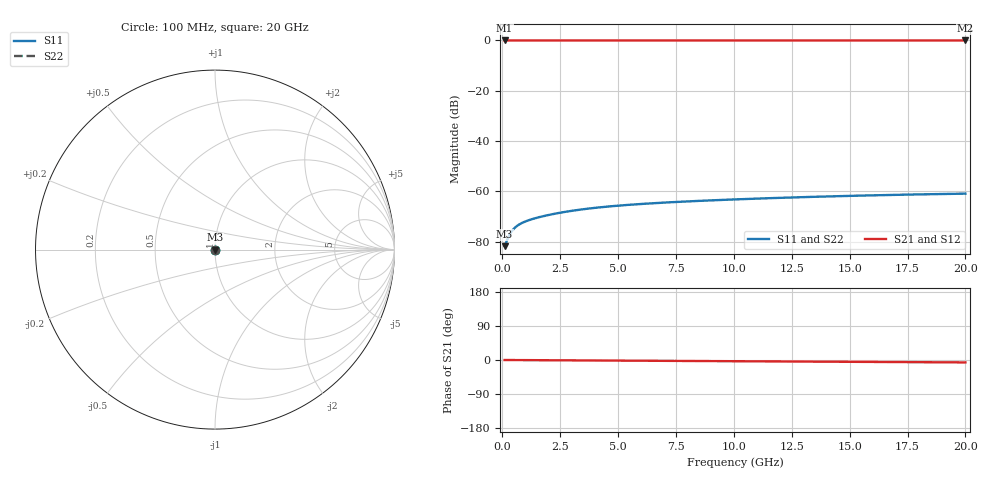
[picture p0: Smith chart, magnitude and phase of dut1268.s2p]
! Touchstone file exported from HFSS 2026.1.0
!  File:  C:/ffzhzh/LocalFiles/Ansys_Project_Files/temp_train_TSV_1268_1783194057_18472.aedt
!  Generated:  03:42:19 AM Jul  5, 2026
!  Design:  TSV
!  Project:  temp_train_TSV_1268_1783194057_18472
! Variables:
!  h_bsmrdl = 2um
!  h_ox = 20um
!  h_rdl = 5um
!  h_sub = 60.14um
!  h_tmrdl = 5um
!  h_tsv = 60.14um
!  h_via = 3um
!  l_bsmrdl = 300um
!  l_sub = 425.18um
!  l_tmrdl = 200um
!  m_sub = 200um
!  pitch = 49.99um
!  r_tsv = 12.59um
!  s_tmrdl = 10um
!  w_bsmrdl = 18um
!  w_sub = 500um
!  w_tmrdl = 12um
!  x_tsv_center1 = 206um
!  x_tsv_center2 = 524um
!  x_tsv_center3 = 736um
!  x_tsv_center4 = 1054um
!  x_tsv_center5 = 1266um
!  x_tsv_center6 = 1584um
# GHz S MA R 50.000000
! Terminal data exported
! Port[1] = TSV1_1_T1
! Port[2] = TSV1_1_T2
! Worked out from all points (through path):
!   200 points, 100 MHz to 20 GHz, reference 50 ohm
!   highest |S21| = 0.00 dB at 100 MHz (marker M1); lowest = 0.0 dB at 20 GHz (marker M2)
!   lowest |S11| = -81.8 dB at 100 MHz (marker M3), VSWR 1.00, Z = 50 + j0.00334 ohm
!   |S11| at or under -10 dB: start of sweep to end of sweep
!   |S22| runs from -81.8 to -60.9 dB; largest |S21 - S12| = 2.2e-15
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0.1  8.157e-05 24.1  0.9999 -0.0  0.9999 -0.0  8.157e-05 24.1
! Gamma 0 0 0 0
! Port Impedance 50 0 50 0
0.2  0.0001064 36.5  0.9999 -0.1  0.9999 -0.1  0.0001064 36.5
0.3  0.0001338 41.0  0.9999 -0.1  0.9999 -0.1  0.0001338 41.1
0.4  0.0001592 42.1  0.9999 -0.1  0.9999 -0.1  0.0001592 42.2
0.5  0.0001812 41.9  0.9999 -0.2  0.9999 -0.2  0.0001813 41.9
0.6  0.0001999 41.2  0.9998 -0.2  0.9998 -0.2  0.0002001 41.2
0.7  0.0002159 40.5  0.9998 -0.2  0.9998 -0.2  0.0002162 40.5
0.8  0.0002298 39.8  0.9998 -0.3  0.9998 -0.3  0.0002302 39.8
1  0.0002533 38.8  0.9998 -0.3  0.9998 -0.3  0.0002537 38.8
1.4  0.0002912 37.9  0.9998 -0.5  0.9998 -0.5  0.0002916 37.8
2  0.00034 37.4  0.9997 -0.6  0.9997 -0.6  0.0003402 37.3
2.7  0.0003911 36.6  0.9997 -0.9  0.9997 -0.9  0.0003912 36.6
3.5  0.0004426 35.2  0.9996 -1.1  0.9996 -1.1  0.0004426 35.2
4.2  0.0004817 33.8  0.9996 -1.4  0.9996 -1.4  0.0004817 33.8
4.9  0.0005161 32.4  0.9996 -1.6  0.9996 -1.6  0.0005161 32.4
5.8  0.0005548 30.7  0.9995 -1.9  0.9995 -1.9  0.0005549 30.7
6.8  0.0005924 28.9  0.9995 -2.2  0.9995 -2.2  0.0005926 28.9
8.3  0.0006421 26.4  0.9994 -2.7  0.9994 -2.7  0.0006423 26.4
10.1  0.000695 23.7  0.9994 -3.2  0.9994 -3.2  0.0006952 23.6
13.4  0.0007795 18.6  0.9993 -4.3  0.9993 -4.3  0.0007798 18.6
16.7  0.0008491 13.2  0.9992 -5.3  0.9992 -5.3  0.0008497 13.2
20  0.0009027 7.6  0.9991 -6.4  0.9991 -6.4  0.0009036 7.6
